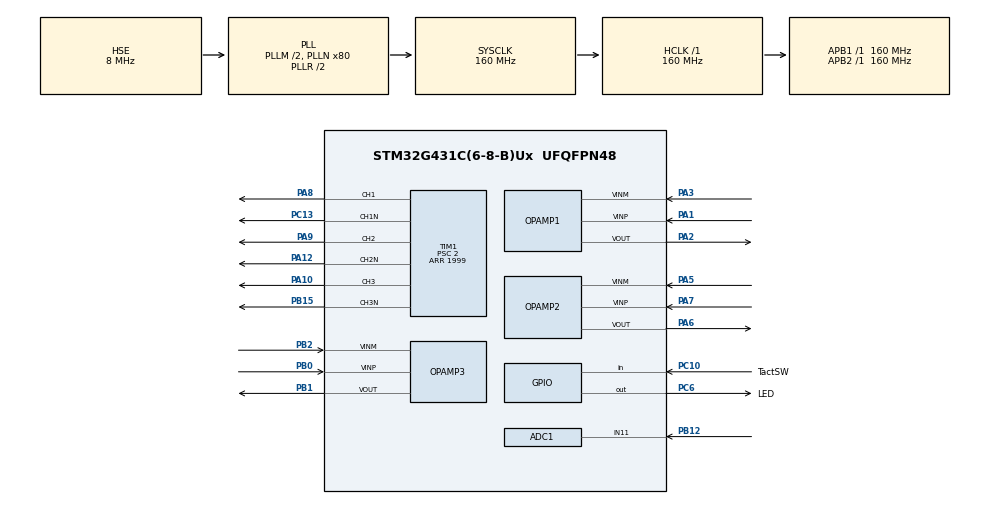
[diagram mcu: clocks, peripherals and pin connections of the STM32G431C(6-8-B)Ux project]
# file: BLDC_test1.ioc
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ADC1.Channel-0\#ChannelRegularConversion=ADC_CHANNEL_11
ADC1.NbrOfConversionFlag=1
ADC1.OffsetNumber-0\#ChannelRegularConversion=ADC_OFFSET_NONE
ADC1.Rank-0\#ChannelRegularConversion=1
ADC1.SamplingTime-0\#ChannelRegularConversion=ADC_SAMPLETIME_2CYCLES_5
ADC1.master=1
Mcu.Family=STM32G4
Mcu.Name=STM32G431C(6-8-B)Ux
Mcu.Package=UFQFPN48
NVIC.PriorityGroup=NVIC_PRIORITYGROUP_4
NVIC.TIM3_IRQn=true\:0\:0\:false\:false\:true\:true\:true\:true
OPAMP1.PowerMode=OPAMP_POWERMODE_NORMALSPEED
PA1.Mode=Standalone
PA1.Signal=OPAMP1_VINP
PA10.Signal=S_TIM1_CH3
PA12.Mode=PWM Generation2 CH2 CH2N
PA12.Signal=TIM1_CH2N
PA2.Mode=Standalone
PA2.Signal=OPAMP1_VOUT
PA3.Mode=Standalone
PA3.Signal=OPAMP1_VINM
PA5.Mode=Standalone
PA5.Signal=OPAMP2_VINM
PA6.Mode=Standalone
PA6.Signal=OPAMP2_VOUT
PA7.Mode=Standalone
PA7.Signal=OPAMP2_VINP
PA8.Signal=S_TIM1_CH1
PA9.Signal=S_TIM1_CH2
PB0.Mode=Standalone
PB0.Signal=OPAMP3_VINP
PB1.Mode=Standalone
PB1.Signal=OPAMP3_VOUT
PB12.Mode=IN11-Single-Ended
PB12.Signal=ADC1_IN11
PB15.Mode=PWM Generation3 CH3 CH3N
PB15.Signal=TIM1_CH3N
PB2.Mode=Standalone
PB2.Signal=OPAMP3_VINM
PC10.GPIO_Label=TactSW
PC10.Signal=GPIO_Input
PC13.Mode=PWM Generation1 CH1 CH1N
PC13.Signal=TIM1_CH1N
PC6.GPIO_Label=LED
PC6.Signal=GPIO_Output
PF0-OSC_IN.Mode=HSE-External-Oscillator
PF0-OSC_IN.Signal=RCC_OSC_IN
PF1-OSC_OUT.Mode=HSE-External-Oscillator
PF1-OSC_OUT.Signal=RCC_OSC_OUT
ProjectManager.HeapSize=0x200
ProjectManager.StackSize=0x400
ProjectManager.TargetToolchain=STM32CubeIDE
RCC.ADC12Freq_Value=160000000
RCC.AHBFreq_Value=160000000
RCC.APB1Freq_Value=160000000
RCC.APB1TimFreq_Value=160000000
RCC.APB2Freq_Value=160000000
RCC.APB2TimFreq_Value=160000000
RCC.CortexFreq_Value=160000000
RCC.EXTERNAL_CLOCK_VALUE=12288000
RCC.HCLKFreq_Value=160000000
RCC.HSE_VALUE=8000000
RCC.HSI48_VALUE=48000000
RCC.HSI_VALUE=16000000
RCC.LSE_VALUE=32768
RCC.PLLM=RCC_PLLM_DIV2
RCC.PLLN=80
RCC.PLLSourceVirtual=RCC_PLLSOURCE_HSE
RCC.SYSCLKFreq_VALUE=160000000
RCC.SYSCLKSource=RCC_SYSCLKSOURCE_PLLCLK
RCC.USBFreq_Value=160000000
RCC.VCOOutputFreq_Value=320000000
SH.S_TIM1_CH1.0=TIM1_CH1,PWM Generation1 CH1 CH1N
SH.S_TIM1_CH2.0=TIM1_CH2,PWM Generation2 CH2 CH2N
SH.S_TIM1_CH3.0=TIM1_CH3,PWM Generation3 CH3 CH3N
TIM1.BreakPolarity=TIM_BREAKPOLARITY_HIGH
TIM1.BreakState=TIM_BREAK_DISABLE
TIM1.Channel-PWM\ Generation1\ CH1\ CH1N=TIM_CHANNEL_1
TIM1.Channel-PWM\ Generation2\ CH2\ CH2N=TIM_CHANNEL_2
TIM1.Channel-PWM\ Generation3\ CH3\ CH3N=TIM_CHANNEL_3
TIM1.CounterMode=TIM_COUNTERMODE_CENTERALIGNED1
TIM1.DeadTime=127
TIM1.DeadTimePreload=DISABLE
TIM1.OCMode_PWM-PWM\ Generation2\ CH2\ CH2N=TIM_OCMODE_PWM1
TIM1.PeriodNoDither=1999
TIM1.Prescaler=2
TIM1.SourceBRKDigInput=TIM_BREAKINPUTSOURCE_DISABLE
TIM3.PeriodNoDither=65535
TIM3.Prescaler=15
VP_SYS_VS_DBSignals.Mode=DisableDeadBatterySignals
VP_TIM1_VS_ClockSourceINT.Mode=Internal
VP_TIM3_VS_ClockSourceINT.Mode=Internal
board=custom

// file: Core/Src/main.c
/* USER CODE BEGIN Header */
/**
  ******************************************************************************
  * @file           : main.c
  * @brief          : Main program body
  ******************************************************************************
  * @attention
  *
  * Copyright (c) 2024 STMicroelectronics.
  * All rights reserved.
  *
  * This software is licensed under terms that can be found in the LICENSE file
  * in the root directory of this software component.
  * If no LICENSE file comes with this software, it is provided AS-IS.
  *
  ******************************************************************************
  */
/* USER CODE END Header */
#include "main.h"

/* USER CODE BEGIN Includes */
#include <stdio.h>
#include <stdlib.h>
#include <stdbool.h>
#include <math.h>

/* USER CODE END Includes */

ADC_HandleTypeDef hadc1;

OPAMP_HandleTypeDef hopamp1;
OPAMP_HandleTypeDef hopamp2;
OPAMP_HandleTypeDef hopamp3;

TIM_HandleTypeDef htim1;
TIM_HandleTypeDef htim3;

/* USER CODE BEGIN PV */
//time count//
uint64_t past_time_100n = 0;
uint64_t now_time_100n = 0;
int64_t delta_time_100n = 0;

uint32_t CNTresister_overflow = 0;

//output value//
uint16_t dutys[3] = {0};//0 ~ 2000
int8_t HiZ_nFlag[3] = {0};//0 or 1 like bool type, if 0:Hi-Z/1:drive

//angle & phase//
int32_t past_ref_angle_mul106 = 0;//0 ~ 359,999,999. past angle multiplied by 10
int32_t ref_angle_mul106 = 0;//0 ~ 359,999,999. now angle multiplied by 10
int16_t ref_phases_mul10[3] = {0};//0 ~ 3599, reference each(UVW) phases

//user variable//
float RPS = 0.0;//Roll Per Second, if minus sign; reverse(-9 ~ 9)
float RPS_electric = 0.0;//Roll Per Second : electric, mul7
float roll_voltage_rate = 0.0;//PWM voltage rate

//value for check variable//
int val_CCER = 0;
int val_CCR1 = 0;
int val_CCR2 = 0;
int val_CCR3 = 0;

int32_t val_ref_angle_mul106 = 0;//0 ~ 359,999,999. now angle multiplied by 10
int16_t val_ref_phases_mul10[3] = {0};//0 ~ 3599, reference each(UVW) phases

int view_variable = 0;

int loop_counter = 0;//count loop times

/* USER CODE END PV */

void SystemClock_Config(void);
static void MX_GPIO_Init(void);
static void MX_ADC1_Init(void);
static void MX_OPAMP1_Init(void);
static void MX_OPAMP2_Init(void);
static void MX_OPAMP3_Init(void);
static void MX_TIM1_Init(void);
static void MX_TIM3_Init(void);
/* USER CODE BEGIN PFP */
void cal_120dgrSquareWave(int phase_mul10, float PWM_rate, int channel, uint16_t* ptr_dutys, int8_t* ptr_HiZ_nFlag);
void set_complementaryPWM(int channel, int8_t* ptr_HiZ_nFlag);
void set_PWMDuty(int channel, uint16_t* ptr_dutys);
/* USER CODE END PFP */

/* USER CODE BEGIN 0 */
void HAL_TIM_PeriodElapsedCallback(TIM_HandleTypeDef *htim)
{
    if (htim == &htim3){
    	CNTresister_overflow++;
    }
}
/* USER CODE END 0 */

int main(void)
{

  /* MCU Configuration--------------------------------------------------------*/

  /* Reset of all peripherals, Initializes the Flash interface and the Systick. */
  HAL_Init();

  /* Configure the system clock */
  SystemClock_Config();

  /* Initialize all configured peripherals */
  MX_GPIO_Init();
  MX_ADC1_Init();
  MX_OPAMP1_Init();
  MX_OPAMP2_Init();
  MX_OPAMP3_Init();
  MX_TIM1_Init();
  MX_TIM3_Init();
  /* USER CODE BEGIN 2 */
  HAL_TIM_Base_Start_IT(&htim3);

  HAL_TIM_PWM_Start(&htim1, TIM_CHANNEL_1);
  HAL_TIMEx_PWMN_Start(&htim1, TIM_CHANNEL_1);

  HAL_TIM_PWM_Start(&htim1, TIM_CHANNEL_2);
  HAL_TIMEx_PWMN_Start(&htim1, TIM_CHANNEL_2);

  HAL_TIM_PWM_Start(&htim1, TIM_CHANNEL_3);
  HAL_TIMEx_PWMN_Start(&htim1, TIM_CHANNEL_3);

  now_time_100n = CNTresister_overflow * 65536 + (TIM3 -> CNT);
  uint64_t Ltika_past_time_100n = now_time_100n;
  past_time_100n = now_time_100n;
  /* USER CODE END 2 */

  /* Infinite loop */
  /* USER CODE BEGIN WHILE */
  while (1)
  {
	// calculate 1_loop time//
	now_time_100n = CNTresister_overflow * 65536 + (TIM3 -> CNT);
	delta_time_100n = now_time_100n - past_time_100n;
	past_time_100n = now_time_100n;

//	loop_counter ++;

	//calculate now angle
	RPS_electric = RPS * 7.0;
	view_variable = (int)(RPS_electric * 36.0 * (float)delta_time_100n);
	ref_angle_mul106 = past_ref_angle_mul106 + view_variable;
//	ref_angle_mul106 = past_ref_angle_mul106 + (int)(RPS_electric * 36.0 * (float)delta_time_100n);

	while(ref_angle_mul106 < 0){//regulate to 0~360,000,000
		ref_angle_mul106 += (360 * 1000000);
	}
	ref_angle_mul106 %= (360 * 1000000);

	//calculate each phase
	ref_phases_mul10[0] = ref_angle_mul106 * 0.00001;
	ref_phases_mul10[1] = ref_phases_mul10[0] + 1200;
		ref_phases_mul10[1] %= 3600;//regulate to 0~3600
	ref_phases_mul10[2] = ref_phases_mul10[0] + 2400;
		ref_phases_mul10[2] %= 3600;//regulate to 0~3600

	//calculate each phase Duty
	cal_120dgrSquareWave(ref_phases_mul10[0], roll_voltage_rate, 1, dutys, HiZ_nFlag);
	cal_120dgrSquareWave(ref_phases_mul10[1], roll_voltage_rate, 2, dutys, HiZ_nFlag);//セ???��?��??��?��?トしてる�????��?��??��?��???��?��??��?��?け確認したい
	cal_120dgrSquareWave(ref_phases_mul10[2], roll_voltage_rate, 3, dutys, HiZ_nFlag);

	//set CCER resister to complementary PWM
	set_complementaryPWM(1, HiZ_nFlag);
	set_complementaryPWM(2, HiZ_nFlag);
	set_complementaryPWM(3, HiZ_nFlag);

	//output each Duty
	set_PWMDuty(1, dutys);
	set_PWMDuty(2, dutys);
	set_PWMDuty(3, dutys);//出力を???��?��??��?��?れるようにした???��?��??��?��?

	//substitute now to past
	past_ref_angle_mul106 = ref_angle_mul106;

	//check resister
	val_CCER = TIM1 -> CCER;//HiZ_nFlag[0~2]
	val_CCR1 = TIM1 -> CCR1;//dutys[0]
	val_CCR2 = TIM1 -> CCR2;//dutys[1]
	val_CCR3 = TIM1 -> CCR3;//dutys[2]

	val_ref_angle_mul106 = ref_angle_mul106;//0 ~ 3599, now angle multiplied by 10
	val_ref_phases_mul10[0] = ref_phases_mul10[0];//0 ~ 3599, reference each(UVW) phases
	val_ref_phases_mul10[1] = ref_phases_mul10[1];//0 ~ 3599, reference each(UVW) phases
	val_ref_phases_mul10[2] = ref_phases_mul10[2];//0 ~ 3599, reference each(UVW) phases
    /* USER CODE END WHILE */

    /* USER CODE BEGIN 3 */

	//Lチカ
	if(now_time_100n - Ltika_past_time_100n > 5000000){
		HAL_GPIO_TogglePin(LED_GPIO_Port, LED_Pin);
		Ltika_past_time_100n = now_time_100n;
	}else{}
  }
  /* USER CODE END 3 */
}

void SystemClock_Config(void)
{
  RCC_OscInitTypeDef RCC_OscInitStruct = {0};
  RCC_ClkInitTypeDef RCC_ClkInitStruct = {0};

  /** Configure the main internal regulator output voltage
  */
  HAL_PWREx_ControlVoltageScaling(PWR_REGULATOR_VOLTAGE_SCALE1_BOOST);

  /** Initializes the RCC Oscillators according to the specified parameters
  * in the RCC_OscInitTypeDef structure.
  */
  RCC_OscInitStruct.OscillatorType = RCC_OSCILLATORTYPE_HSE;
  RCC_OscInitStruct.HSEState = RCC_HSE_ON;
  RCC_OscInitStruct.PLL.PLLState = RCC_PLL_ON;
  RCC_OscInitStruct.PLL.PLLSource = RCC_PLLSOURCE_HSE;
  RCC_OscInitStruct.PLL.PLLM = RCC_PLLM_DIV2;
  RCC_OscInitStruct.PLL.PLLN = 80;
  RCC_OscInitStruct.PLL.PLLP = RCC_PLLP_DIV2;
  RCC_OscInitStruct.PLL.PLLQ = RCC_PLLQ_DIV2;
  RCC_OscInitStruct.PLL.PLLR = RCC_PLLR_DIV2;
  if (HAL_RCC_OscConfig(&RCC_OscInitStruct) != HAL_OK)
  {
    Error_Handler();
  }

  /** Initializes the CPU, AHB and APB buses clocks
  */
  RCC_ClkInitStruct.ClockType = RCC_CLOCKTYPE_HCLK|RCC_CLOCKTYPE_SYSCLK
                              |RCC_CLOCKTYPE_PCLK1|RCC_CLOCKTYPE_PCLK2;
  RCC_ClkInitStruct.SYSCLKSource = RCC_SYSCLKSOURCE_PLLCLK;
  RCC_ClkInitStruct.AHBCLKDivider = RCC_SYSCLK_DIV1;
  RCC_ClkInitStruct.APB1CLKDivider = RCC_HCLK_DIV1;
  RCC_ClkInitStruct.APB2CLKDivider = RCC_HCLK_DIV1;

  if (HAL_RCC_ClockConfig(&RCC_ClkInitStruct, FLASH_LATENCY_4) != HAL_OK)
  {
    Error_Handler();
  }
}

static void MX_ADC1_Init(void)
{

  ADC_MultiModeTypeDef multimode = {0};
  ADC_ChannelConfTypeDef sConfig = {0};

  /** Common config
  */
  hadc1.Instance = ADC1;
  hadc1.Init.ClockPrescaler = ADC_CLOCK_SYNC_PCLK_DIV4;
  hadc1.Init.Resolution = ADC_RESOLUTION_12B;
  hadc1.Init.DataAlign = ADC_DATAALIGN_RIGHT;
  hadc1.Init.GainCompensation = 0;
  hadc1.Init.ScanConvMode = ADC_SCAN_DISABLE;
  hadc1.Init.EOCSelection = ADC_EOC_SINGLE_CONV;
  hadc1.Init.LowPowerAutoWait = DISABLE;
  hadc1.Init.ContinuousConvMode = DISABLE;
  hadc1.Init.NbrOfConversion = 1;
  hadc1.Init.DiscontinuousConvMode = DISABLE;
  hadc1.Init.ExternalTrigConv = ADC_SOFTWARE_START;
  hadc1.Init.ExternalTrigConvEdge = ADC_EXTERNALTRIGCONVEDGE_NONE;
  hadc1.Init.DMAContinuousRequests = DISABLE;
  hadc1.Init.Overrun = ADC_OVR_DATA_PRESERVED;
  hadc1.Init.OversamplingMode = DISABLE;
  if (HAL_ADC_Init(&hadc1) != HAL_OK)
  {
    Error_Handler();
  }

  /** Configure the ADC multi-mode
  */
  multimode.Mode = ADC_MODE_INDEPENDENT;
  if (HAL_ADCEx_MultiModeConfigChannel(&hadc1, &multimode) != HAL_OK)
  {
    Error_Handler();
  }

  /** Configure Regular Channel
  */
  sConfig.Channel = ADC_CHANNEL_11;
  sConfig.Rank = ADC_REGULAR_RANK_1;
  sConfig.SamplingTime = ADC_SAMPLETIME_2CYCLES_5;
  sConfig.SingleDiff = ADC_SINGLE_ENDED;
  sConfig.OffsetNumber = ADC_OFFSET_NONE;
  sConfig.Offset = 0;
  if (HAL_ADC_ConfigChannel(&hadc1, &sConfig) != HAL_OK)
  {
    Error_Handler();
  }

}

static void MX_OPAMP1_Init(void)
{

  hopamp1.Instance = OPAMP1;
  hopamp1.Init.PowerMode = OPAMP_POWERMODE_NORMALSPEED;
  hopamp1.Init.Mode = OPAMP_STANDALONE_MODE;
  hopamp1.Init.InvertingInput = OPAMP_INVERTINGINPUT_IO0;
  hopamp1.Init.NonInvertingInput = OPAMP_NONINVERTINGINPUT_IO0;
  hopamp1.Init.InternalOutput = DISABLE;
  hopamp1.Init.TimerControlledMuxmode = OPAMP_TIMERCONTROLLEDMUXMODE_DISABLE;
  hopamp1.Init.UserTrimming = OPAMP_TRIMMING_FACTORY;
  if (HAL_OPAMP_Init(&hopamp1) != HAL_OK)
  {
    Error_Handler();
  }

}

static void MX_OPAMP2_Init(void)
{

  hopamp2.Instance = OPAMP2;
  hopamp2.Init.PowerMode = OPAMP_POWERMODE_NORMALSPEED;
  hopamp2.Init.Mode = OPAMP_STANDALONE_MODE;
  hopamp2.Init.InvertingInput = OPAMP_INVERTINGINPUT_IO0;
  hopamp2.Init.NonInvertingInput = OPAMP_NONINVERTINGINPUT_IO0;
  hopamp2.Init.InternalOutput = DISABLE;
  hopamp2.Init.TimerControlledMuxmode = OPAMP_TIMERCONTROLLEDMUXMODE_DISABLE;
  hopamp2.Init.UserTrimming = OPAMP_TRIMMING_FACTORY;
  if (HAL_OPAMP_Init(&hopamp2) != HAL_OK)
  {
    Error_Handler();
  }

}

static void MX_OPAMP3_Init(void)
{

  hopamp3.Instance = OPAMP3;
  hopamp3.Init.PowerMode = OPAMP_POWERMODE_NORMALSPEED;
  hopamp3.Init.Mode = OPAMP_STANDALONE_MODE;
  hopamp3.Init.InvertingInput = OPAMP_INVERTINGINPUT_IO0;
  hopamp3.Init.NonInvertingInput = OPAMP_NONINVERTINGINPUT_IO0;
  hopamp3.Init.InternalOutput = DISABLE;
  hopamp3.Init.TimerControlledMuxmode = OPAMP_TIMERCONTROLLEDMUXMODE_DISABLE;
  hopamp3.Init.UserTrimming = OPAMP_TRIMMING_FACTORY;
  if (HAL_OPAMP_Init(&hopamp3) != HAL_OK)
  {
    Error_Handler();
  }

}

static void MX_TIM1_Init(void)
{

  TIM_ClockConfigTypeDef sClockSourceConfig = {0};
  TIM_MasterConfigTypeDef sMasterConfig = {0};
  TIM_OC_InitTypeDef sConfigOC = {0};
  TIM_BreakDeadTimeConfigTypeDef sBreakDeadTimeConfig = {0};

  htim1.Instance = TIM1;
  htim1.Init.Prescaler = 2;
  htim1.Init.CounterMode = TIM_COUNTERMODE_CENTERALIGNED1;
  htim1.Init.Period = 1999;
  htim1.Init.ClockDivision = TIM_CLOCKDIVISION_DIV1;
  htim1.Init.RepetitionCounter = 0;
  htim1.Init.AutoReloadPreload = TIM_AUTORELOAD_PRELOAD_DISABLE;
  if (HAL_TIM_Base_Init(&htim1) != HAL_OK)
  {
    Error_Handler();
  }
  sClockSourceConfig.ClockSource = TIM_CLOCKSOURCE_INTERNAL;
  if (HAL_TIM_ConfigClockSource(&htim1, &sClockSourceConfig) != HAL_OK)
  {
    Error_Handler();
  }
  if (HAL_TIM_PWM_Init(&htim1) != HAL_OK)
  {
    Error_Handler();
  }
  sMasterConfig.MasterOutputTrigger = TIM_TRGO_RESET;
  sMasterConfig.MasterOutputTrigger2 = TIM_TRGO2_RESET;
  sMasterConfig.MasterSlaveMode = TIM_MASTERSLAVEMODE_DISABLE;
  if (HAL_TIMEx_MasterConfigSynchronization(&htim1, &sMasterConfig) != HAL_OK)
  {
    Error_Handler();
  }
  sConfigOC.OCMode = TIM_OCMODE_PWM1;
  sConfigOC.Pulse = 0;
  sConfigOC.OCPolarity = TIM_OCPOLARITY_HIGH;
  sConfigOC.OCNPolarity = TIM_OCNPOLARITY_HIGH;
  sConfigOC.OCFastMode = TIM_OCFAST_DISABLE;
  sConfigOC.OCIdleState = TIM_OCIDLESTATE_RESET;
  sConfigOC.OCNIdleState = TIM_OCNIDLESTATE_RESET;
  if (HAL_TIM_PWM_ConfigChannel(&htim1, &sConfigOC, TIM_CHANNEL_1) != HAL_OK)
  {
    Error_Handler();
  }
  if (HAL_TIM_PWM_ConfigChannel(&htim1, &sConfigOC, TIM_CHANNEL_2) != HAL_OK)
  {
    Error_Handler();
  }
  if (HAL_TIM_PWM_ConfigChannel(&htim1, &sConfigOC, TIM_CHANNEL_3) != HAL_OK)
  {
    Error_Handler();
  }
  sBreakDeadTimeConfig.OffStateRunMode = TIM_OSSR_DISABLE;
  sBreakDeadTimeConfig.OffStateIDLEMode = TIM_OSSI_DISABLE;
  sBreakDeadTimeConfig.LockLevel = TIM_LOCKLEVEL_OFF;
  sBreakDeadTimeConfig.DeadTime = 127;
  sBreakDeadTimeConfig.BreakState = TIM_BREAK_DISABLE;
  sBreakDeadTimeConfig.BreakPolarity = TIM_BREAKPOLARITY_HIGH;
  sBreakDeadTimeConfig.BreakFilter = 0;
  sBreakDeadTimeConfig.BreakAFMode = TIM_BREAK_AFMODE_INPUT;
  sBreakDeadTimeConfig.Break2State = TIM_BREAK2_DISABLE;
  sBreakDeadTimeConfig.Break2Polarity = TIM_BREAK2POLARITY_HIGH;
  sBreakDeadTimeConfig.Break2Filter = 0;
  sBreakDeadTimeConfig.Break2AFMode = TIM_BREAK_AFMODE_INPUT;
  sBreakDeadTimeConfig.AutomaticOutput = TIM_AUTOMATICOUTPUT_DISABLE;
  if (HAL_TIMEx_ConfigBreakDeadTime(&htim1, &sBreakDeadTimeConfig) != HAL_OK)
  {
    Error_Handler();
  }
  HAL_TIM_MspPostInit(&htim1);

}

static void MX_TIM3_Init(void)
{

  TIM_ClockConfigTypeDef sClockSourceConfig = {0};
  TIM_MasterConfigTypeDef sMasterConfig = {0};

  htim3.Instance = TIM3;
  htim3.Init.Prescaler = 15;
  htim3.Init.CounterMode = TIM_COUNTERMODE_UP;
  htim3.Init.Period = 65535;
  htim3.Init.ClockDivision = TIM_CLOCKDIVISION_DIV1;
  htim3.Init.AutoReloadPreload = TIM_AUTORELOAD_PRELOAD_DISABLE;
  if (HAL_TIM_Base_Init(&htim3) != HAL_OK)
  {
    Error_Handler();
  }
  sClockSourceConfig.ClockSource = TIM_CLOCKSOURCE_INTERNAL;
  if (HAL_TIM_ConfigClockSource(&htim3, &sClockSourceConfig) != HAL_OK)
  {
    Error_Handler();
  }
  sMasterConfig.MasterOutputTrigger = TIM_TRGO_RESET;
  sMasterConfig.MasterSlaveMode = TIM_MASTERSLAVEMODE_DISABLE;
  if (HAL_TIMEx_MasterConfigSynchronization(&htim3, &sMasterConfig) != HAL_OK)
  {
    Error_Handler();
  }

}

static void MX_GPIO_Init(void)
{
  GPIO_InitTypeDef GPIO_InitStruct = {0};

  /* GPIO Ports Clock Enable */
  __HAL_RCC_GPIOC_CLK_ENABLE();
  __HAL_RCC_GPIOF_CLK_ENABLE();
  __HAL_RCC_GPIOA_CLK_ENABLE();
  __HAL_RCC_GPIOB_CLK_ENABLE();

  /*Configure GPIO pin Output Level */
  HAL_GPIO_WritePin(LED_GPIO_Port, LED_Pin, GPIO_PIN_RESET);

  /*Configure GPIO pin : LED_Pin */
  GPIO_InitStruct.Pin = LED_Pin;
  GPIO_InitStruct.Mode = GPIO_MODE_OUTPUT_PP;
  GPIO_InitStruct.Pull = GPIO_NOPULL;
  GPIO_InitStruct.Speed = GPIO_SPEED_FREQ_LOW;
  HAL_GPIO_Init(LED_GPIO_Port, &GPIO_InitStruct);

  /*Configure GPIO pin : TactSW_Pin */
  GPIO_InitStruct.Pin = TactSW_Pin;
  GPIO_InitStruct.Mode = GPIO_MODE_INPUT;
  GPIO_InitStruct.Pull = GPIO_NOPULL;
  HAL_GPIO_Init(TactSW_GPIO_Port, &GPIO_InitStruct);

}

/* USER CODE BEGIN 4 */
void cal_120dgrSquareWave(int phase_mul10, float PWM_rate, int channel, uint16_t* ptr_dutys, int8_t* ptr_HiZ_nFlag){
	float max_duty = 1999.0;
	int channel_dec1 = channel - 1;

	//120 degree Square Wave like Sin Wave
	if(0 <= phase_mul10 && phase_mul10 < 1200){//0 ~ 120, High
	ptr_dutys[channel_dec1] = (int)(max_duty * PWM_rate);
	ptr_HiZ_nFlag[channel_dec1] = 1;//Enable

	}else if(1200 <= phase_mul10 && phase_mul10 < 2400){//120 ~ 240, Hi-Z
	ptr_dutys[channel_dec1] = 0;
	ptr_HiZ_nFlag[channel_dec1] = 0;//disable

	}else if(2400 <= phase_mul10 && phase_mul10 < 3600){//240 ~ 359, Low
	ptr_dutys[channel_dec1] = 0;
	ptr_HiZ_nFlag[channel_dec1] = 1;//Enable

	}else{//exception
	ptr_dutys[channel_dec1] = 0;
	ptr_HiZ_nFlag[channel_dec1] = 0;//disable
	}
}

void set_complementaryPWM(int channel, int8_t* ptr_HiZ_nFlag){
	int channel_dec1 = channel - 1;

	if(ptr_HiZ_nFlag[channel_dec1] == 0){//disable
		TIM1 -> CCER &= ~(0b1 << (2 + channel_dec1*4));
		TIM1 -> CCER &= ~(0b1 << (channel_dec1*4));

	}else if(ptr_HiZ_nFlag[channel_dec1] == 1){//enable
		TIM1 -> CCER |= (0b1 << (2 + channel_dec1*4));
		TIM1 -> CCER |= (0b1 << (channel_dec1*4));

	}else{
		TIM1 -> CCER &= ~(0b1 << (2 + channel_dec1*4));
		TIM1 -> CCER &= ~(0b1 << (channel_dec1*4));
	}
}
void set_PWMDuty(int channel, uint16_t* ptr_dutys){
	int channel_dec1 = channel - 1;
	if(channel == 1){
		TIM1 -> CCR1 = ptr_dutys[channel_dec1];
	}else if(channel == 2){
		TIM1 -> CCR2 = ptr_dutys[channel_dec1];
	}else if(channel == 3){
		TIM1 -> CCR3 = ptr_dutys[channel_dec1];
	}else{}
}
/* USER CODE END 4 */

void Error_Handler(void)
{
  __disable_irq();
  while (1)
  {
  }
}
